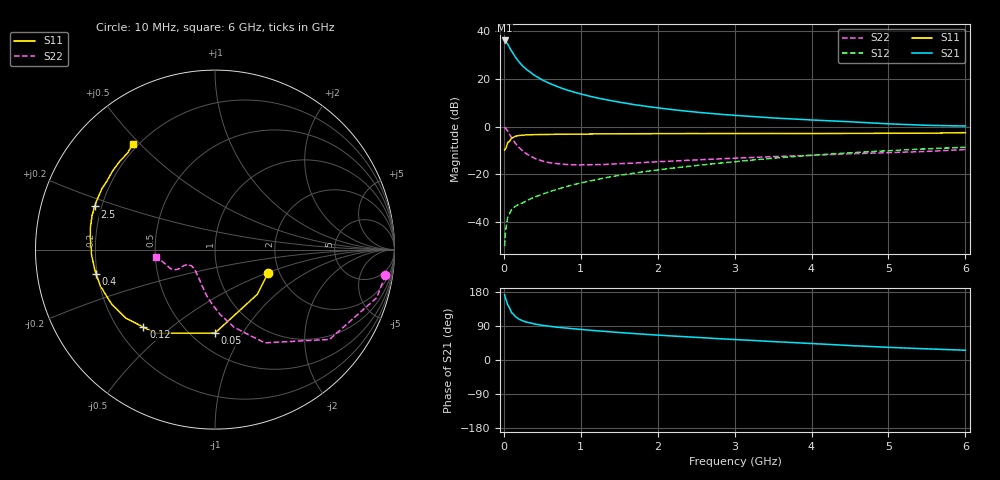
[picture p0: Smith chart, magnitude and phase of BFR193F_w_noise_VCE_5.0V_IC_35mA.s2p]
! Infineon Technologies  Discrete & RF Semiconductors
! BFR193F
! VCE =  5.0 V,  IC =  35 mA
! Common Emitter S-Parameters:  Jan 2017
# GHz  S  MA  R  50
!  f  S11  S21  S12  S22
! GHz  MAG  ANG  MAG  ANG  MAG  ANG  MAG  ANG
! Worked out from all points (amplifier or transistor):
!   77 points, 10 MHz to 6 GHz, reference 50 ohm
!   highest |S21| = 36.1 dB at 10 MHz (marker M1)
!   |S21| within 3 dB of that: start of sweep to 75.02 MHz
!   unconditionally stable (mu >= 1): 1.022 GHz to 2.644 GHz
!   at 130 MHz: K = 0.41, MSG = 32.1 dB, |S12| = -34.0 dB
!   at 2.2 GHz: K = 1.02, MAG = 11.4 dB, |S12| = -17.4 dB
!   at 6 GHz: K = 0.86, MSG = 4.5 dB, |S12| = -8.7 dB
!   lowest NFmin = 1.26 dB at 450 MHz
!   S11 on the Smith chart (normalised r, x): 10 MHz: 1.75, -0.50; 50 MHz: 0.64, -0.76; 120 MHz: 0.31, -0.40; 400 MHz: 0.19, -0.10; 2.5 GHz: 0.17, +0.17; 6 GHz: 0.18, +0.48
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0.01  0.3233 -23.5  63.91 172.3  0.0031 80.8  0.9603 -8.5
0.02  0.3431 -46.5  62.2 164.4  0.0056 77.2  0.9398 -16.6
0.05  0.4648 -90.0  53.46 145.3  0.0124 65.6  0.8111 -38.1
0.1  0.5727 -125.6  38.42 125.1  0.0179 52.0  0.5885 -62.0
0.12  0.588 -132.7  34.35 121.5  0.0192 51.0  0.5276 -66.8
0.15  0.6267 -142.5  28.59 114.3  0.0212 49.7  0.4454 -76.2
0.2  0.6502 -151.9  22.42 107.5  0.0237 49.9  0.3609 -85.7
0.25  0.6602 -158.2  18.3 103.0  0.0253 50.5  0.3013 -93.4
0.3  0.6696 -162.5  15.47 99.7  0.0282 54.2  0.2643 -99.6
0.4  0.6776 -168.6  11.77 94.9  0.033 57.8  0.2154 -109.5
0.5  0.6807 -172.5  9.49 91.6  0.0381 60.5  0.189 -117.1
0.6  0.6843 -175.4  7.951 88.8  0.0432 63.4  0.1741 -123.8
0.7  0.6892 -178.1  6.837 86.4  0.0487 64.9  0.1664 -128.6
0.9  0.6936 178.1  5.344 82.5  0.06 68.2  0.1575 -137.1
1.1  0.697 175.0  4.392 78.9  0.0712 69.8  0.1583 -142.0
1.5  0.7051 169.9  3.253 72.6  0.0945 71.5  0.1668 -148.8
2.1  0.7108 163.7  2.361 64.5  0.1286 71.9  0.186 -152.3
2.5  0.7124 160.3  2.011 59.8  0.1523 71.6  0.1997 -152.6
3.1  0.7135 155.1  1.678 53.0  0.1896 70.7  0.2203 -152.0
4.1  0.714 146.3  1.351 42.4  0.2558 66.9  0.2531 -154.0
5.1  0.7233 136.4  1.124 32.6  0.3176 61.3  0.287 -163.4
6  0.7449 127.9  1.026 25.7  0.3679 56.2  0.3298 -172.9
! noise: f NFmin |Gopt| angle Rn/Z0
0.45  1.26  0.42  178  0.06
0.9  1.35  0.44  178  0.07
1.9  1.9  0.58  -166  0.08
2.4  2.2  0.61  -157  0.12
